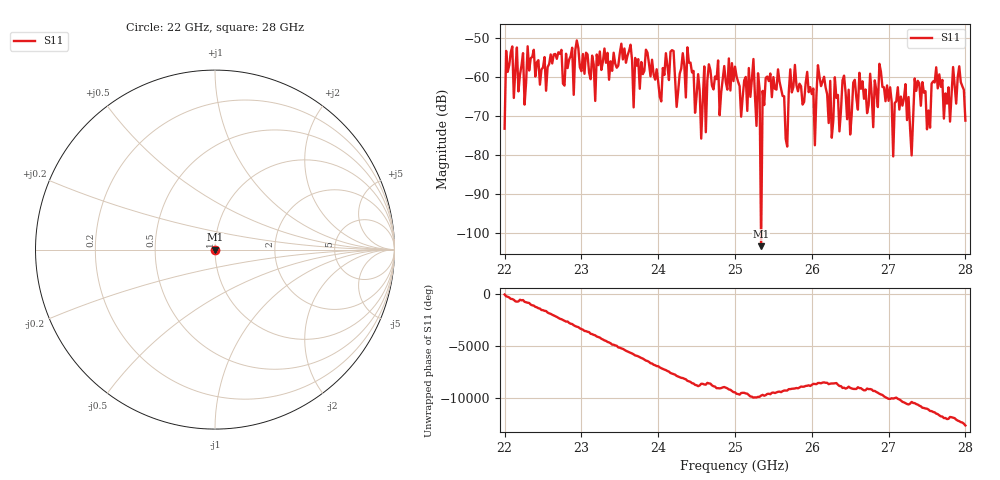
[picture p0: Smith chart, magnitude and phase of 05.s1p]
#  HZ  S  RI  R  50.00
! Rohde & Schwarz ZVA40 4Ports - Version 3.90 - 1145.1110k42 SN: 100403
! Date: 2023-10-04 09:37:02
! Measurement: S12
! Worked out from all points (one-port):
!   301 points, 22 GHz to 28 GHz, reference 50 ohm
!   lowest |S11| = -103.5 dB at 25.34 GHz (marker M1), VSWR 1.00, Z = 50 - j0.000285 ohm
!   |S11| at or under -10 dB: start of sweep to end of sweep
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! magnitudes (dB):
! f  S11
! 22 GHz  -73.3
! 22.02 GHz  -53.3
! 22.76 GHz  -61.8
! 23.5 GHz  -53.9
! 24.26 GHz  -63.7
! 24.38 GHz  -52.4
! 24.56 GHz  -75.8
! 24.6 GHz  -57.3
! 24.62 GHz  -74.2
! 24.66 GHz  -56.8
! 25 GHz  -57.4
! 25.3 GHz  -59.1
! 25.34 GHz  -103.5
! 25.4 GHz  -60.3
! 25.68 GHz  -77.9
! 25.76 GHz  -62.6
! 26.04 GHz  -77.6
! 26.08 GHz  -57.0
! 26.26 GHz  -75.6
! 26.42 GHz  -59.7
! 26.5 GHz  -74.8
! 26.62 GHz  -59.0
! 27.02 GHz  -62.7
! 27.06 GHz  -80.4
! 27.26 GHz  -65.2
! 27.3 GHz  -80.2
! 27.34 GHz  -60.4
! 28 GHz  -71.2
